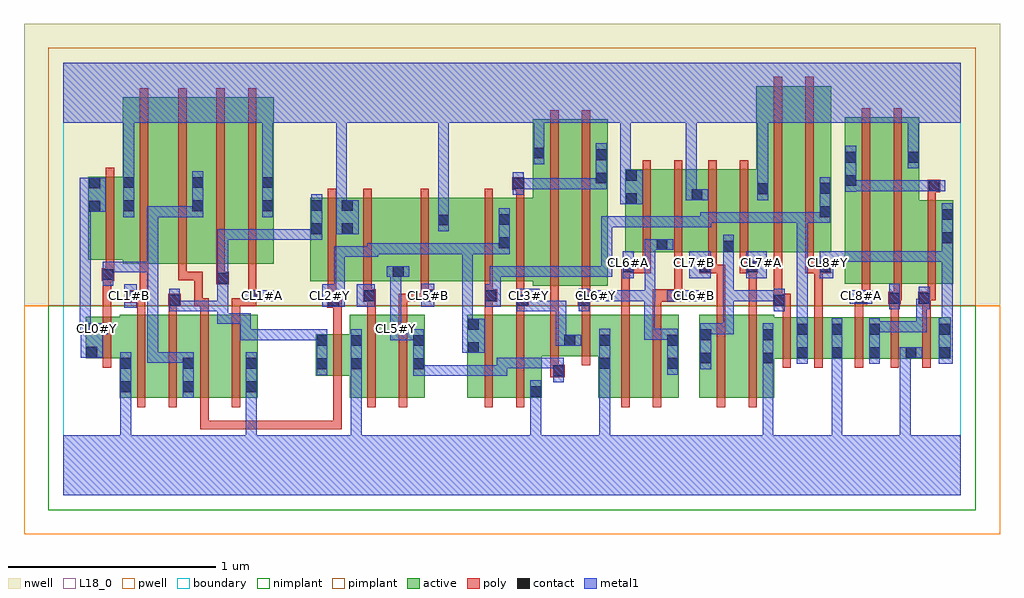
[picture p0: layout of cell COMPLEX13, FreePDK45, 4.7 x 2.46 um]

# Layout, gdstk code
import gdstk
lib = gdstk.Library(unit=1e-6, precision=1e-09)
def R(c, l, rs):  # rectangles x0, y0, x1, y1
    for r in rs: c.add(gdstk.rectangle(r[:2], r[2:], *l))
def A(c, l, x, y, w, h, nx, ny, dx, dy):  # array of equal rectangles
    R(c, l, [(x+i*dx, y+j*dy, x+i*dx+w, y+j*dy+h) for i in range(nx) for j in range(ny)])
active = (1, 0)
pwell = (2, 0)
nwell = (3, 0)
nimplant = (4, 0)
pimplant = (5, 0)
poly = (9, 0)
contact = (10, 0)
metal1 = (11, 0)
L18_0 = (18, 0)
boundary = (235, 0)

complex13 = lib.new_cell('COMPLEX13')
R(complex13, active, [(0.272,0.468,0.452,0.868), (0.272,0.468,0.332,0.664), (0.452,0.468,0.632,0.868), (0.572,0.468,0.756,0.868), (0.572,0.468,0.632,0.664), (0.756,0.468,0.936,0.868), (0.876,0.468,0.936,0.868), (1.38,0.468,1.56,0.868), (1.56,0.468,1.74,0.868), (1.68,0.468,1.74,0.868), (1.944,0.468,2.124,0.868), (1.944,0.468,2.004,0.868), (2.124,0.468,2.304,0.868), (2.244,0.468,2.304,0.668), (2.576,0.468,2.782,0.868), (2.576,0.468,2.636,0.776), (2.782,0.468,2.962,0.868), (2.902,0.468,2.962,0.868), (3.062,0.468,3.242,0.868), (3.062,0.468,3.122,0.868), (3.242,0.468,3.422,0.868), (3.362,0.468,3.422,0.856), (1.216,0.574,1.276,0.774), (1.216,0.574,1.44,0.774), (1.38,0.596,1.44,0.774), (3.362,0.656,3.586,0.856), (3.526,0.656,3.586,0.828), (3.526,0.656,3.754,0.856), (3.694,0.656,3.754,0.828), (3.694,0.656,3.934,0.856), (3.874,0.656,4.11,0.856), (3.874,0.656,3.934,0.828), (4.05,0.656,4.11,0.856), (4.05,0.656,4.27,0.856), (4.21,0.656,4.27,0.856), (0.108,0.658,0.168,0.858), (0.108,0.658,0.332,0.858), (2.244,0.668,2.468,0.868), (2.408,0.668,2.468,0.868), (2.408,0.668,2.636,0.868), (2.26,1.008,2.44,1.808), (2.44,1.008,2.62,1.808), (2.56,1.008,2.62,1.724), (3.76,1.018,3.94,1.818), (3.76,1.018,3.844,1.724), (3.94,1.018,4.12,1.818), (4.06,1.018,4.284,1.418), (4.224,1.018,4.284,1.418), (1.19,1.03,1.25,1.43), (1.19,1.03,1.398,1.43), (1.338,1.03,1.642,1.43), (1.582,1.03,1.642,1.43), (1.582,1.03,1.86,1.43), (1.8,1.03,1.86,1.43), (1.8,1.03,2.152,1.43), (2.092,1.03,2.152,1.43), (2.092,1.03,2.32,1.43), (0.286,1.114,0.498,1.914), (0.498,1.114,0.678,1.914), (0.618,1.114,0.834,1.914), (0.618,1.114,0.678,1.724), (0.834,1.114,1.014,1.914), (0.954,1.114,1.014,1.914), (0.122,1.132,0.182,1.532), (0.122,1.132,0.346,1.532), (2.704,1.168,2.764,1.568), (2.704,1.168,2.912,1.568), (2.852,1.168,3.08,1.568), (3.02,1.168,3.232,1.568), (3.172,1.168,3.396,1.568), (3.172,1.168,3.232,1.356), (3.336,1.168,3.516,1.968), (3.516,1.168,3.696,1.968), (3.636,1.168,3.696,1.724), (2.852,1.176,2.912,1.356), (0.286,1.178,0.346,1.534), (4.06,1.192,4.12,1.656), (1.338,1.196,1.398,1.43), (2.26,1.224,2.32,1.676), (3.02,1.284,3.08,1.476), (3.336,1.284,3.396,1.504)])
R(complex13, pwell, [(-0.188,-0.188,4.508,0.912)])
R(complex13, nwell, [(-0.188,0.912,4.508,2.268)])
R(complex13, nimplant, [(-0.072,-0.072,4.392,0.912)])
R(complex13, pimplant, [(-0.072,0.912,4.392,2.152)])
A(complex13, poly, 0.356, 0.424, 0.04, 0.488, 4, 1, 0.152, 0)
A(complex13, poly, 0.508, 0.872, 0.04, 0.076, 3, 1, 0.152, 0)
A(complex13, poly, 0.37, 1.07, 0.04, 0.888, 3, 1, 0.184, 0)
R(complex13, poly, [(0.66,0.318,0.7,0.358), (0.66,0.318,0.806,0.358), (0.66,0.318,0.7,0.464), (0.766,0.318,0.806,0.358), (0.766,0.318,0.806,0.358), (0.766,0.318,0.806,0.358), (0.766,0.318,1.206,0.358), (1.166,0.318,1.206,0.358), (1.166,0.318,1.206,0.358), (1.166,0.318,1.206,0.358), (1.166,0.318,1.34,0.358), (1.3,0.318,1.34,0.358), (1.3,0.318,1.34,0.358), (1.3,0.318,1.34,0.358), (1.3,0.318,1.34,0.358), (1.3,0.318,1.34,0.358), (1.3,0.318,1.34,0.57), (1.464,0.424,1.504,0.912), (1.616,0.424,1.656,0.912), (2.028,0.424,2.068,0.912), (2.18,0.424,2.22,0.912), (2.686,0.424,2.726,0.912), (2.838,0.424,2.878,0.912), (3.146,0.424,3.186,0.912), (3.298,0.424,3.338,0.912), (1.3,0.53,1.34,0.818), (2.344,0.568,2.414,0.628), (2.344,0.588,2.384,0.664), (3.462,0.612,3.502,0.9), (3.614,0.612,3.654,0.9), (3.81,0.612,3.85,0.9), (3.982,0.612,4.022,0.9), (4.134,0.612,4.174,0.9), (0.192,0.614,0.232,0.902), (2.344,0.624,2.384,0.912), (2.496,0.624,2.536,0.912), (1.3,0.778,1.34,0.942), (3.462,0.86,3.502,0.948), (3.614,0.86,3.654,1.108), (3.81,0.86,3.85,0.958), (3.982,0.86,4.022,0.958), (4.134,0.86,4.174,0.958), (0.192,0.862,0.232,1.072), (0.356,0.872,0.396,0.966), (1.464,0.872,1.504,0.97), (1.616,0.872,1.656,0.97), (2.028,0.872,2.068,0.97), (2.18,0.872,2.22,0.948), (2.344,0.872,2.384,0.948), (2.496,0.872,2.536,0.948), (2.686,0.872,2.726,1.108), (2.838,0.872,2.878,0.97), (3.146,0.872,3.186,1.108), (3.298,0.872,3.338,1.108), (1.272,0.902,1.332,0.962), (1.292,0.902,1.332,0.942), (1.292,0.902,1.34,0.942), (0.506,0.908,0.566,0.968), (0.632,0.908,0.672,0.948), (0.632,0.908,0.7,0.948), (0.632,0.908,0.672,1.074), (0.66,0.908,0.7,0.948), (0.812,0.908,0.93,0.948), (0.89,0.908,0.93,0.97), (2.18,0.908,2.24,0.968), (2.344,0.908,2.384,0.948), (2.344,0.908,2.384,0.948), (2.344,0.908,2.384,0.948), (2.344,0.908,2.384,1.004), (2.476,0.908,2.536,0.968), (3.416,0.908,3.502,0.968), (3.81,0.918,3.87,0.978), (3.97,0.918,4.03,0.978), (4.114,0.918,4.174,0.978), (1.274,0.922,1.314,1.026), (0.298,0.926,0.396,0.986), (2.18,0.928,2.22,0.968), (2.18,0.928,2.22,0.968), (2.18,0.928,2.22,1.026), (2.496,0.928,2.536,1.004), (2.496,0.928,2.536,0.968), (2.496,0.928,2.536,0.968), (3.42,0.928,3.46,0.968), (3.42,0.928,3.46,0.968), (3.42,0.928,3.46,1.164), (0.89,0.93,0.95,0.99), (1.444,0.93,1.504,0.99), (1.464,0.93,1.504,0.97), (1.464,0.93,1.504,0.97), (1.616,0.93,1.76,0.97), (1.72,0.93,1.78,0.99), (1.72,0.93,1.76,0.97), (2.028,0.93,2.088,0.99), (2.028,0.93,2.068,0.97), (2.028,0.93,2.068,0.97), (2.838,0.93,2.992,0.99), (3.83,0.938,3.87,0.978), (3.83,0.938,3.884,0.978), (3.844,0.938,3.884,1.014), (3.99,0.938,4.03,0.978), (3.99,0.938,4.036,0.978), (3.996,0.938,4.036,1.014), (4.134,0.938,4.174,0.978), (4.134,0.938,4.2,0.978), (4.16,0.938,4.2,1.014), (0.356,0.946,0.396,0.986), (0.356,0.946,0.41,0.986), (0.37,0.946,0.41,1.11), (0.89,0.95,0.93,1.11), (1.444,0.95,1.484,1.026), (1.72,0.95,1.76,1.026), (2.028,0.95,2.068,1.026), (2.94,0.95,2.98,0.99), (2.94,0.95,2.98,0.99), (2.94,0.95,2.98,1.164), (2.344,0.964,2.384,1.852), (2.496,0.964,2.536,1.852), (3.844,0.974,3.884,1.862), (3.996,0.974,4.036,1.862), (4.16,0.974,4.2,1.462), (1.274,0.986,1.314,1.474), (1.444,0.986,1.484,1.474), (1.72,0.986,1.76,1.474), (2.028,0.986,2.068,1.474), (2.18,0.986,2.22,1.474), (0.738,1.014,0.798,1.074), (0.186,1.032,0.246,1.092), (0.192,1.032,0.232,1.072), (0.192,1.032,0.232,1.072), (0.554,1.034,0.594,1.11), (0.554,1.034,0.594,1.074), (0.554,1.034,0.672,1.074), (0.632,1.034,0.672,1.074), (0.738,1.034,0.778,1.11), (0.206,1.052,0.246,1.128), (2.686,1.068,2.73,1.108), (2.69,1.068,2.73,1.108), (2.69,1.068,2.828,1.128), (3.06,1.068,3.144,1.128), (3.104,1.068,3.144,1.108), (3.104,1.068,3.186,1.108), (3.256,1.068,3.342,1.128), (3.298,1.068,3.338,1.108), (3.298,1.068,3.338,1.108), (3.572,1.068,3.696,1.128), (3.614,1.068,3.654,1.108), (3.614,1.068,3.654,1.108), (0.89,1.07,0.93,1.958), (0.206,1.088,0.246,1.576), (2.788,1.088,2.828,1.164), (3.104,1.088,3.144,1.164), (3.256,1.088,3.296,1.164), (3.572,1.088,3.612,1.164), (2.788,1.124,2.828,1.612), (2.94,1.124,2.98,1.612), (3.104,1.124,3.144,1.612), (3.256,1.124,3.296,1.612), (3.42,1.124,3.46,2.012), (3.572,1.124,3.612,2.012), (4.16,1.422,4.2,1.498), (2.18,1.434,2.22,1.51), (4.16,1.458,4.22,1.518), (2.16,1.47,2.22,1.53)])
R(complex13, contact, [(2.248,0.472,2.3,0.524), (0.276,0.496,0.328,0.548), (0.576,0.496,0.628,0.548), (0.88,0.496,0.932,0.548), (2.358,0.572,2.41,0.624), (1.22,0.606,1.272,0.658), (1.384,0.606,1.436,0.658), (1.684,0.606,1.736,0.658), (0.276,0.608,0.328,0.66), (0.576,0.608,0.628,0.66), (0.88,0.608,0.932,0.66), (2.58,0.608,2.632,0.66), (2.906,0.608,2.958,0.66), (3.066,0.634,3.118,0.686), (3.366,0.634,3.418,0.686), (3.53,0.66,3.582,0.712), (3.698,0.66,3.75,0.712), (3.878,0.66,3.93,0.712), (4.054,0.66,4.106,0.712), (4.214,0.66,4.266,0.712), (0.112,0.662,0.164,0.714), (1.948,0.684,2,0.736), (1.22,0.718,1.272,0.77), (1.384,0.718,1.436,0.77), (1.684,0.718,1.736,0.77), (2.412,0.72,2.464,0.772), (2.58,0.72,2.632,0.772), (2.906,0.72,2.958,0.772), (3.066,0.746,3.118,0.798), (3.366,0.746,3.418,0.798), (3.53,0.772,3.582,0.824), (3.698,0.772,3.75,0.824), (3.878,0.772,3.93,0.824), (4.214,0.772,4.266,0.824), (0.112,0.774,0.164,0.826), (1.948,0.796,2,0.848), (1.276,0.906,1.328,0.958), (0.51,0.912,0.562,0.964), (2.184,0.912,2.236,0.964), (2.48,0.912,2.532,0.964), (3.42,0.912,3.472,0.964), (3.814,0.922,3.866,0.974), (3.974,0.922,4.026,0.974), (4.118,0.922,4.17,0.974), (0.302,0.93,0.354,0.982), (0.894,0.934,0.946,0.986), (1.448,0.934,1.5,0.986), (1.724,0.934,1.776,0.986), (2.032,0.934,2.084,0.986), (2.936,0.934,2.988,0.986), (0.742,1.018,0.794,1.07), (0.19,1.036,0.242,1.088), (1.586,1.05,1.638,1.102), (2.694,1.072,2.746,1.124), (3.064,1.072,3.116,1.124), (3.286,1.072,3.338,1.124), (3.64,1.072,3.692,1.124), (3.176,1.172,3.228,1.224), (2.856,1.18,2.908,1.232), (2.096,1.188,2.148,1.24), (4.228,1.212,4.28,1.264), (1.194,1.256,1.246,1.308), (1.342,1.256,1.394,1.308), (1.804,1.298,1.856,1.35), (2.096,1.3,2.148,1.352), (4.228,1.324,4.28,1.376), (3.64,1.338,3.692,1.39), (0.126,1.364,0.178,1.416), (0.29,1.366,0.342,1.418), (0.622,1.366,0.674,1.418), (0.958,1.366,1.01,1.418), (1.194,1.368,1.246,1.42), (1.342,1.368,1.394,1.42), (2.708,1.4,2.76,1.452), (3.024,1.42,3.076,1.472), (3.34,1.448,3.392,1.5), (3.64,1.45,3.692,1.502), (4.164,1.462,4.216,1.514), (2.164,1.474,2.216,1.526), (0.126,1.476,0.178,1.528), (0.29,1.478,0.342,1.53), (0.622,1.478,0.674,1.53), (0.958,1.478,1.01,1.53), (3.764,1.488,3.816,1.54), (2.564,1.5,2.616,1.552), (2.708,1.512,2.76,1.564), (3.764,1.6,3.816,1.652), (4.064,1.6,4.116,1.652), (2.564,1.612,2.616,1.664), (2.264,1.62,2.316,1.672)])
R(complex13, metal1, [(0,0,4.32,0.288), (0.276,0.236,0.328,0.52), (0.88,0.236,0.932,0.288), (0.88,0.236,0.932,0.288), (0.88,0.236,0.932,0.52), (1.384,0.236,1.436,0.288), (1.384,0.236,1.436,0.288), (1.384,0.236,1.436,0.63), (2.248,0.236,2.3,0.288), (2.248,0.236,2.3,0.288), (2.248,0.236,2.3,0.496), (2.58,0.236,2.632,0.288), (2.58,0.236,2.632,0.288), (2.58,0.236,2.632,0.632), (3.366,0.236,3.418,0.288), (3.366,0.236,3.418,0.288), (3.366,0.236,3.418,0.658), (3.698,0.236,3.75,0.288), (3.698,0.236,3.75,0.288), (3.698,0.236,3.75,0.288), (3.698,0.236,3.75,0.288), (3.698,0.236,3.75,0.684), (4.026,0.236,4.078,0.288), (4.026,0.236,4.078,0.288), (4.026,0.236,4.078,0.288), (4.026,0.236,4.078,0.288), (4.026,0.236,4.078,0.712), (2.248,0.444,2.3,0.552), (0.276,0.468,0.328,0.688), (0.276,0.468,0.328,0.52), (0.276,0.468,0.328,0.52), (0.576,0.468,0.628,0.688), (0.88,0.468,0.932,0.688), (2.358,0.544,2.41,0.662), (1.684,0.574,1.736,0.626), (1.684,0.574,1.776,0.626), (1.684,0.574,1.736,0.63), (1.724,0.574,1.776,0.626), (1.724,0.574,1.896,0.626), (1.844,0.574,1.896,0.626), (1.844,0.574,2.138,0.626), (2.086,0.574,2.138,0.662), (1.22,0.578,1.272,0.798), (1.384,0.578,1.436,0.798), (1.684,0.578,1.736,0.798), (2.58,0.58,2.632,0.8), (2.906,0.58,2.958,0.8), (3.066,0.606,3.118,0.826), (3.366,0.606,3.418,0.826), (2.086,0.61,2.248,0.662), (2.196,0.61,2.248,0.662), (2.196,0.61,2.248,0.662), (2.196,0.61,2.248,0.662), (2.196,0.61,2.248,0.662), (2.196,0.61,2.248,0.662), (2.196,0.61,2.41,0.662), (3.53,0.632,3.582,0.852), (3.698,0.632,3.75,0.852), (3.698,0.632,3.75,0.684), (3.698,0.632,3.75,0.684), (3.878,0.632,3.93,0.852), (4.214,0.632,4.28,0.852), (0.406,0.636,0.458,0.688), (0.406,0.636,0.458,0.688), (0.406,0.636,0.458,0.688), (0.406,0.636,0.628,0.688), (0.406,0.636,0.458,1.124), (0.576,0.636,0.628,0.688), (0.576,0.636,0.628,0.688), (4.026,0.66,4.078,0.712), (4.026,0.66,4.078,0.712), (4.026,0.66,4.134,0.712), (0.084,0.662,0.192,0.826), (1.92,0.684,2.028,0.848), (2.37,0.72,2.422,0.936), (2.37,0.72,2.492,0.772), (0.852,0.746,0.904,0.798), (0.852,0.746,0.904,0.876), (0.852,0.746,1.272,0.798), (1.574,0.746,1.626,0.798), (1.574,0.746,1.626,0.798), (1.574,0.746,1.626,0.854), (1.574,0.746,1.736,0.798), (1.684,0.746,1.736,0.798), (1.684,0.746,1.736,0.798), (2.796,0.748,2.848,0.8), (2.796,0.748,2.938,0.8), (2.796,0.748,2.848,0.986), (2.886,0.748,2.938,0.8), (2.886,0.748,2.958,0.8), (0.08,0.774,0.132,0.826), (0.08,0.774,0.132,0.826), (0.08,0.774,0.132,1.416), (0.08,0.774,0.214,0.826), (0.084,0.774,0.136,0.826), (3.066,0.774,3.118,0.826), (3.066,0.774,3.118,0.826), (3.066,0.774,3.228,0.826), (3.176,0.774,3.228,0.826), (3.176,0.774,3.228,0.986), (3.878,0.784,3.93,0.836), (3.878,0.784,3.93,0.836), (3.878,0.784,4.156,0.836), (4.104,0.784,4.156,0.836), (4.104,0.784,4.156,0.946), (1.92,0.796,1.972,1.212), (3.53,0.8,3.582,0.852), (3.53,0.8,3.582,0.852), (3.53,0.8,3.582,0.852), (3.53,0.8,3.582,0.852), (3.53,0.8,3.582,1.362), (4.228,0.8,4.28,1.174), (1.574,0.802,1.626,0.854), (1.574,0.802,1.626,0.854), (1.574,0.802,1.626,1.102), (0.742,0.824,0.904,0.876), (0.742,0.824,0.794,0.936), (0.852,0.824,0.904,0.876), (0.852,0.824,0.904,0.876), (0.852,0.824,0.904,0.876), (0.51,0.884,0.562,0.992), (0.51,0.884,0.674,0.936), (0.622,0.884,0.674,0.936), (0.622,0.884,0.794,0.936), (0.742,0.884,0.794,0.936), (0.742,0.884,0.794,0.936), (0.742,0.884,0.794,1.098), (2.184,0.884,2.294,0.992), (2.242,0.884,2.294,0.936), (2.242,0.884,2.294,0.936), (2.242,0.884,2.422,0.936), (2.37,0.884,2.422,0.936), (2.37,0.884,2.422,0.936), (2.37,0.884,2.422,0.936), (2.48,0.884,2.532,0.992), (3.42,0.884,3.472,0.992), (3.974,0.894,4.026,1.018), (4.104,0.894,4.156,0.946), (4.104,0.894,4.17,0.946), (4.118,0.894,4.17,1.002), (0.294,0.902,0.354,1.014), (1.248,0.906,1.356,1.014), (1.414,0.906,1.5,1.014), (1.724,0.906,1.786,1.016), (2.032,0.906,2.106,1.014), (3.786,0.922,3.894,0.986), (0.866,0.934,1.014,0.986), (2.48,0.934,2.558,0.986), (2.506,0.934,2.614,0.986), (2.562,0.934,2.718,0.986), (2.666,0.934,2.718,0.986), (2.666,0.934,2.726,0.986), (2.674,0.934,2.726,0.986), (2.674,0.934,2.848,0.986), (2.796,0.934,2.85,0.986), (2.798,0.934,2.85,1.232), (2.908,0.934,3.094,0.986), (3.176,0.934,3.228,0.986), (3.176,0.934,3.228,0.986), (3.176,0.934,3.228,0.986), (3.176,0.934,3.472,0.986), (3.176,0.934,3.228,1.196), (3.42,0.934,3.472,0.986), (3.42,0.934,3.472,0.986), (1.304,0.962,1.356,1.014), (1.304,0.962,1.356,1.014), (1.304,0.962,1.356,1.198), (2.054,0.962,2.106,1.014), (2.054,0.962,2.106,1.102), (0.742,0.99,0.794,1.098), (0.19,1.008,0.242,1.116), (2.694,1.044,2.746,1.174), (3.014,1.044,3.116,1.174), (3.286,1.044,3.386,1.174), (3.64,1.044,3.706,1.174), (0.742,1.046,0.794,1.098), (0.742,1.046,0.794,1.098), (0.742,1.046,0.794,1.28), (1.558,1.05,1.666,1.102), (2.054,1.05,2.248,1.102), (2.196,1.05,2.248,1.102), (2.196,1.05,2.248,1.102), (2.196,1.05,2.248,1.102), (2.196,1.05,2.422,1.102), (2.37,1.05,2.422,1.102), (2.37,1.05,2.422,1.102), (2.37,1.05,2.422,1.102), (2.37,1.05,2.532,1.102), (2.48,1.05,2.532,1.102), (2.48,1.05,2.532,1.102), (2.48,1.05,2.532,1.102), (2.48,1.05,2.642,1.102), (2.59,1.05,2.642,1.102), (2.59,1.05,2.642,1.342), (0.19,1.064,0.242,1.116), (0.19,1.064,0.242,1.124), (0.19,1.072,0.452,1.124), (0.4,1.072,0.452,1.124), (0.4,1.072,0.458,1.124), (0.406,1.072,0.458,1.124), (0.406,1.072,0.458,1.39), (3.654,1.122,3.706,1.174), (3.654,1.122,3.706,1.174), (3.654,1.122,3.816,1.174), (3.764,1.122,3.816,1.174), (3.764,1.122,3.816,1.174), (3.764,1.122,3.816,1.174), (3.764,1.122,3.95,1.174), (3.898,1.122,3.95,1.174), (3.898,1.122,3.95,1.174), (3.898,1.122,3.95,1.174), (3.898,1.122,4.06,1.174), (4.008,1.122,4.06,1.174), (4.008,1.122,4.28,1.174), (4.228,1.122,4.28,1.236), (4.228,1.122,4.28,1.174), (4.228,1.122,4.28,1.174), (4.228,1.122,4.28,1.174), (4.228,1.122,4.28,1.174), (4.228,1.122,4.28,1.174), (3.176,1.144,3.228,1.196), (3.176,1.144,3.228,1.196), (3.176,1.144,3.228,1.252), (1.304,1.146,1.356,1.198), (1.304,1.146,1.356,1.198), (1.304,1.146,1.356,1.198), (1.304,1.146,1.516,1.198), (1.464,1.146,1.516,1.212), (1.464,1.16,1.626,1.212), (1.574,1.16,1.626,1.212), (1.574,1.16,1.626,1.212), (1.574,1.16,1.626,1.212), (1.574,1.16,1.786,1.212), (1.734,1.16,1.786,1.212), (1.734,1.16,1.786,1.212), (1.734,1.16,1.786,1.212), (1.734,1.16,1.972,1.212), (1.92,1.16,1.972,1.212), (1.92,1.16,1.972,1.212), (1.92,1.16,1.972,1.212), (1.92,1.16,1.972,1.212), (1.92,1.16,1.972,1.212), (1.92,1.16,1.972,1.212), (1.92,1.16,1.972,1.212), (1.92,1.16,2.148,1.212), (2.096,1.16,2.148,1.38), (2.798,1.18,2.88,1.232), (2.828,1.18,2.88,1.232), (2.828,1.18,2.936,1.232), (4.228,1.184,4.28,1.404), (0.742,1.228,0.794,1.28), (0.742,1.228,0.904,1.28), (0.852,1.228,0.904,1.28), (0.852,1.228,0.904,1.28), (0.852,1.228,0.904,1.28), (0.852,1.228,1.246,1.28), (1.194,1.228,1.246,1.448), (1.314,1.256,1.422,1.42), (1.804,1.27,1.856,1.378), (2.59,1.29,2.642,1.342), (2.59,1.29,2.642,1.342), (2.59,1.29,2.642,1.342), (2.59,1.29,2.828,1.342), (2.776,1.29,2.828,1.342), (2.776,1.29,2.828,1.342), (2.776,1.29,2.828,1.342), (2.776,1.29,2.938,1.342), (2.886,1.29,2.938,1.342), (2.886,1.29,2.958,1.342), (2.906,1.29,2.958,1.342), (2.906,1.29,3.118,1.342), (3.066,1.29,3.118,1.342), (3.066,1.29,3.118,1.342), (3.066,1.29,3.118,1.362), (3.066,1.31,3.252,1.362), (3.2,1.31,3.252,1.362), (3.2,1.31,3.362,1.362), (3.31,1.31,3.362,1.362), (3.31,1.31,3.362,1.362), (3.31,1.31,3.362,1.362), (3.31,1.31,3.362,1.362), (3.31,1.31,3.362,1.362), (3.31,1.31,3.582,1.362), (3.53,1.31,3.582,1.362), (3.53,1.31,3.582,1.362), (3.53,1.31,3.582,1.362), (3.53,1.31,3.692,1.362), (3.64,1.31,3.692,1.53), (3.64,1.31,3.692,1.362), (3.64,1.31,3.692,1.362), (1.804,1.326,1.856,1.844), (0.29,1.338,0.342,1.558), (0.406,1.338,0.458,1.39), (0.406,1.338,0.674,1.39), (0.622,1.338,0.674,1.558), (0.622,1.338,0.674,1.39), (0.622,1.338,0.674,1.39), (0.958,1.338,1.01,1.558), (0.08,1.364,0.206,1.528), (1.314,1.368,1.366,1.844), (2.68,1.4,2.788,1.564), (2.996,1.42,3.048,1.472), (2.996,1.42,3.048,1.472), (2.996,1.42,3.048,1.472), (2.996,1.42,3.048,1.472), (2.996,1.42,3.048,1.472), (2.996,1.42,3.048,1.472), (2.996,1.42,3.104,1.472), (2.996,1.42,3.048,1.844), (3.34,1.42,3.392,1.528), (2.164,1.446,2.216,1.554), (3.764,1.46,3.816,1.68), (3.764,1.462,3.816,1.514), (3.764,1.462,3.816,1.514), (3.764,1.462,3.95,1.514), (3.898,1.462,3.95,1.514), (3.898,1.462,4.06,1.514), (4.008,1.462,4.06,1.514), (4.008,1.462,4.06,1.514), (4.008,1.462,4.06,1.514), (4.008,1.462,4.188,1.514), (4.136,1.462,4.244,1.514), (2.164,1.472,2.312,1.524), (2.26,1.472,2.312,1.524), (2.26,1.472,2.422,1.524), (2.37,1.472,2.422,1.524), (2.37,1.472,2.422,1.524), (2.37,1.472,2.422,1.524), (2.37,1.472,2.532,1.524), (2.48,1.472,2.532,1.524), (2.48,1.472,2.616,1.524), (2.564,1.472,2.616,1.692), (3.34,1.476,3.392,1.844), (0.29,1.506,0.342,1.844), (0.958,1.506,1.01,1.844), (2.68,1.512,2.732,1.844), (4.064,1.572,4.116,1.68), (2.264,1.592,2.316,1.7), (4.064,1.628,4.116,1.844), (2.264,1.648,2.316,1.844), (0,1.792,4.32,2.08), (1.314,1.792,1.366,1.844), (1.314,1.792,1.366,1.844), (1.314,1.792,1.366,1.844), (1.314,1.792,1.366,1.844), (1.314,1.792,1.366,1.844), (1.314,1.792,1.366,1.844), (1.314,1.792,1.366,1.844), (1.314,1.792,1.366,1.844), (1.804,1.792,1.856,1.844), (1.804,1.792,1.856,1.844), (1.804,1.792,1.856,1.844), (1.804,1.792,1.856,1.844), (1.804,1.792,1.856,1.844), (1.804,1.792,1.856,1.844), (1.804,1.792,1.856,1.844), (1.804,1.792,1.856,1.844), (2.68,1.792,2.732,1.844), (2.68,1.792,2.732,1.844), (2.68,1.792,2.732,1.844), (2.68,1.792,2.732,1.844), (2.68,1.792,2.732,1.844), (2.68,1.792,2.732,1.844), (2.68,1.792,2.732,1.844), (2.68,1.792,2.732,1.844), (2.996,1.792,3.048,1.844), (2.996,1.792,3.048,1.844)])
A(complex13, L18_0, 1.574, 0.746, 0.052, 0.052, 1, 3, 0, 0.028)
A(complex13, L18_0, 1.414, 0.934, 0.052, 0.052, 3, 1, 0.32, 0)
A(complex13, L18_0, 2.694, 1.094, 0.052, 0.052, 4, 1, 0.32, 0)
R(complex13, L18_0, [(0,0,4.32,0.288), (0.276,0.236,0.328,0.52), (0.88,0.236,0.932,0.288), (0.88,0.236,0.932,0.288), (0.88,0.236,0.932,0.52), (1.384,0.236,1.436,0.288), (1.384,0.236,1.436,0.288), (1.384,0.236,1.436,0.63), (2.248,0.236,2.3,0.288), (2.248,0.236,2.3,0.288), (2.248,0.236,2.3,0.496), (2.58,0.236,2.632,0.288), (2.58,0.236,2.632,0.288), (2.58,0.236,2.632,0.632), (3.366,0.236,3.418,0.288), (3.366,0.236,3.418,0.288), (3.366,0.236,3.418,0.658), (3.698,0.236,3.75,0.288), (3.698,0.236,3.75,0.288), (3.698,0.236,3.75,0.288), (3.698,0.236,3.75,0.288), (3.698,0.236,3.75,0.684), (4.026,0.236,4.078,0.288), (4.026,0.236,4.078,0.288), (4.026,0.236,4.078,0.288), (4.026,0.236,4.078,0.288), (4.026,0.236,4.078,0.712), (2.248,0.444,2.3,0.552), (0.276,0.468,0.328,0.52), (0.276,0.468,0.328,0.52), (0.276,0.468,0.328,0.688), (0.88,0.468,0.932,0.688), (2.358,0.544,2.41,0.662), (1.684,0.574,1.736,0.626), (1.684,0.574,1.736,0.63), (1.684,0.574,1.776,0.626), (1.724,0.574,1.776,0.626), (1.724,0.574,1.896,0.626), (1.844,0.574,1.896,0.626), (1.844,0.574,2.138,0.626), (2.086,0.574,2.138,0.662), (1.384,0.578,1.436,0.798), (1.684,0.578,1.736,0.798), (2.58,0.58,2.632,0.8), (2.906,0.58,2.958,0.8), (3.366,0.606,3.418,0.826), (2.086,0.61,2.248,0.662), (2.196,0.61,2.248,0.662), (2.196,0.61,2.248,0.662), (2.196,0.61,2.248,0.662), (2.196,0.61,2.248,0.662), (2.196,0.61,2.248,0.662), (2.196,0.61,2.41,0.662), (3.53,0.632,3.582,0.852), (3.698,0.632,3.75,0.684), (3.698,0.632,3.75,0.684), (3.698,0.632,3.75,0.852), (4.214,0.632,4.28,0.852), (4.026,0.66,4.078,0.712), (4.026,0.66,4.078,0.712), (4.026,0.66,4.134,0.712), (0.084,0.662,0.192,0.826), (1.92,0.684,2.028,0.848), (2.37,0.72,2.492,0.772), (2.37,0.72,2.422,0.936), (1.574,0.746,1.626,0.798), (1.574,0.746,1.626,0.854), (1.574,0.746,1.736,0.798), (1.684,0.746,1.736,0.798), (1.684,0.746,1.736,0.798), (2.796,0.748,2.848,0.8), (2.796,0.748,2.848,0.986), (2.796,0.748,2.938,0.8), (2.886,0.748,2.938,0.8), (2.886,0.748,2.958,0.8), (0.08,0.774,0.214,0.826), (0.08,0.774,0.132,0.826), (0.08,0.774,0.132,0.826), (0.08,0.774,0.132,1.416), (0.084,0.774,0.136,0.826), (0.134,0.774,0.186,0.826), (1.92,0.796,1.972,1.212), (3.53,0.8,3.582,0.852), (3.53,0.8,3.582,0.852), (3.53,0.8,3.582,0.852), (3.53,0.8,3.582,0.852), (3.53,0.8,3.582,1.362), (4.228,0.8,4.28,1.174), (1.574,0.802,1.626,0.854), (1.574,0.802,1.626,1.102), (2.184,0.884,2.294,0.992), (2.242,0.884,2.294,0.936), (2.242,0.884,2.294,0.936), (2.242,0.884,2.422,0.936), (2.37,0.884,2.422,0.936), (2.37,0.884,2.422,0.936), (2.37,0.884,2.422,0.936), (2.48,0.884,2.532,0.992), (3.974,0.894,4.026,1.018), (0.294,0.902,0.354,1.014), (1.248,0.906,1.356,1.014), (1.414,0.906,1.5,1.014), (1.724,0.906,1.786,1.016), (2.032,0.906,2.106,1.014), (3.786,0.922,3.894,0.986), (0.294,0.934,0.346,0.986), (0.866,0.934,1.014,0.986), (0.934,0.934,0.986,0.986), (1.254,0.934,1.306,0.986), (2.214,0.934,2.266,0.986), (2.48,0.934,2.558,0.986), (2.506,0.934,2.614,0.986), (2.534,0.934,2.586,0.986), (2.562,0.934,2.718,0.986), (2.666,0.934,2.718,0.986), (2.666,0.934,2.726,0.986), (2.674,0.934,2.726,0.986), (2.674,0.934,2.848,0.986), (2.796,0.934,2.85,0.986), (2.798,0.934,2.85,1.232), (2.908,0.934,3.094,0.986), (3.014,0.934,3.066,0.986), (3.814,0.934,3.866,0.986), (3.974,0.934,4.026,0.986), (1.304,0.962,1.356,1.014), (1.304,0.962,1.356,1.014), (1.304,0.962,1.356,1.198), (2.054,0.962,2.106,1.014), (2.054,0.962,2.106,1.102), (2.694,1.044,2.746,1.174), (3.014,1.044,3.116,1.174), (3.286,1.044,3.386,1.174), (3.64,1.044,3.706,1.174), (1.558,1.05,1.666,1.102), (2.054,1.05,2.248,1.102), (2.196,1.05,2.248,1.102), (2.196,1.05,2.248,1.102), (2.196,1.05,2.248,1.102), (2.196,1.05,2.422,1.102), (2.37,1.05,2.422,1.102), (2.37,1.05,2.422,1.102), (2.37,1.05,2.422,1.102), (2.37,1.05,2.532,1.102), (2.48,1.05,2.532,1.102), (2.48,1.05,2.532,1.102), (2.48,1.05,2.532,1.102), (2.48,1.05,2.642,1.102), (2.59,1.05,2.642,1.102), (2.59,1.05,2.642,1.342), (3.654,1.122,3.706,1.174), (3.654,1.122,3.706,1.174), (3.654,1.122,3.816,1.174), (3.764,1.122,3.816,1.174), (3.764,1.122,3.816,1.174), (3.764,1.122,3.816,1.174), (3.764,1.122,3.95,1.174), (3.898,1.122,3.95,1.174), (3.898,1.122,3.95,1.174), (3.898,1.122,3.95,1.174), (3.898,1.122,4.06,1.174), (4.008,1.122,4.06,1.174), (4.008,1.122,4.28,1.174), (4.228,1.122,4.28,1.174), (4.228,1.122,4.28,1.174), (4.228,1.122,4.28,1.174), (4.228,1.122,4.28,1.174), (4.228,1.122,4.28,1.174), (4.228,1.122,4.28,1.236), (1.304,1.146,1.356,1.198), (1.304,1.146,1.356,1.198), (1.304,1.146,1.356,1.198), (1.304,1.146,1.516,1.198), (1.464,1.146,1.516,1.212), (1.464,1.16,1.626,1.212), (1.574,1.16,1.626,1.212), (1.574,1.16,1.626,1.212), (1.574,1.16,1.626,1.212), (1.574,1.16,1.786,1.212), (1.734,1.16,1.786,1.212), (1.734,1.16,1.786,1.212), (1.734,1.16,1.786,1.212), (1.734,1.16,1.972,1.212), (1.92,1.16,1.972,1.212), (1.92,1.16,1.972,1.212), (1.92,1.16,1.972,1.212), (1.92,1.16,1.972,1.212), (1.92,1.16,1.972,1.212), (1.92,1.16,1.972,1.212), (1.92,1.16,1.972,1.212), (1.92,1.16,2.148,1.212), (2.096,1.16,2.148,1.38), (2.798,1.18,2.88,1.232), (2.828,1.18,2.88,1.232), (2.828,1.18,2.936,1.232), (4.228,1.184,4.28,1.404), (1.314,1.256,1.422,1.42), (1.804,1.27,1.856,1.378), (2.59,1.29,2.642,1.342), (2.59,1.29,2.642,1.342), (2.59,1.29,2.642,1.342), (2.59,1.29,2.828,1.342), (2.776,1.29,2.828,1.342), (2.776,1.29,2.828,1.342), (2.776,1.29,2.828,1.342), (2.776,1.29,2.938,1.342), (2.886,1.29,2.938,1.342), (2.886,1.29,2.958,1.342), (2.906,1.29,2.958,1.342), (2.906,1.29,3.118,1.342), (3.066,1.29,3.118,1.342), (3.066,1.29,3.118,1.342), (3.066,1.29,3.118,1.362), (3.066,1.31,3.252,1.362), (3.2,1.31,3.252,1.362), (3.2,1.31,3.362,1.362), (3.31,1.31,3.362,1.362), (3.31,1.31,3.362,1.362), (3.31,1.31,3.362,1.362), (3.31,1.31,3.362,1.362), (3.31,1.31,3.362,1.362), (3.31,1.31,3.582,1.362), (3.53,1.31,3.582,1.362), (3.53,1.31,3.582,1.362), (3.53,1.31,3.582,1.362), (3.53,1.31,3.692,1.362), (3.64,1.31,3.692,1.362), (3.64,1.31,3.692,1.362), (3.64,1.31,3.692,1.53), (1.804,1.326,1.856,1.844), (0.29,1.338,0.342,1.558), (0.958,1.338,1.01,1.558), (0.08,1.364,0.206,1.528), (1.314,1.368,1.366,1.844), (2.68,1.4,2.788,1.564), (2.996,1.42,3.048,1.472), (2.996,1.42,3.048,1.472), (2.996,1.42,3.048,1.472), (2.996,1.42,3.048,1.472), (2.996,1.42,3.048,1.472), (2.996,1.42,3.048,1.472), (2.996,1.42,3.104,1.472), (2.996,1.42,3.048,1.844), (3.34,1.42,3.392,1.528), (2.164,1.446,2.216,1.554), (2.164,1.472,2.312,1.524), (2.26,1.472,2.312,1.524), (2.26,1.472,2.422,1.524), (2.37,1.472,2.422,1.524), (2.37,1.472,2.422,1.524), (2.37,1.472,2.422,1.524), (2.37,1.472,2.532,1.524), (2.48,1.472,2.532,1.524), (2.48,1.472,2.616,1.524), (2.564,1.472,2.616,1.692), (3.34,1.476,3.392,1.844), (0.29,1.506,0.342,1.844), (0.958,1.506,1.01,1.844), (2.68,1.512,2.732,1.844), (4.064,1.572,4.116,1.68), (2.264,1.592,2.316,1.7), (4.064,1.628,4.116,1.844), (2.264,1.648,2.316,1.844), (0,1.792,4.32,2.08), (1.314,1.792,1.366,1.844), (1.314,1.792,1.366,1.844), (1.314,1.792,1.366,1.844), (1.314,1.792,1.366,1.844), (1.314,1.792,1.366,1.844), (1.314,1.792,1.366,1.844), (1.314,1.792,1.366,1.844), (1.314,1.792,1.366,1.844), (1.804,1.792,1.856,1.844), (1.804,1.792,1.856,1.844), (1.804,1.792,1.856,1.844), (1.804,1.792,1.856,1.844), (1.804,1.792,1.856,1.844), (1.804,1.792,1.856,1.844), (1.804,1.792,1.856,1.844), (1.804,1.792,1.856,1.844), (2.68,1.792,2.732,1.844), (2.68,1.792,2.732,1.844), (2.68,1.792,2.732,1.844), (2.68,1.792,2.732,1.844), (2.68,1.792,2.732,1.844), (2.68,1.792,2.732,1.844), (2.68,1.792,2.732,1.844), (2.68,1.792,2.732,1.844), (2.996,1.792,3.048,1.844), (2.996,1.792,3.048,1.844)])
R(complex13, boundary, [(0,0,4.32,2.08)])
complex13.add(gdstk.Label('CL0#Y', (0.16,0.8), layer=11, texttype=0))
complex13.add(gdstk.Label('CL1#A', (0.96,0.96), layer=11, texttype=0))
complex13.add(gdstk.Label('CL1#B', (0.32,0.96), layer=11, texttype=0))
complex13.add(gdstk.Label('CL2#Y', (1.28,0.96), layer=11, texttype=0))
complex13.add(gdstk.Label('CL3#Y', (2.24,0.96), layer=11, texttype=0))
complex13.add(gdstk.Label('CL4#Y', (2.08,0.96), layer=11, texttype=0))
complex13.add(gdstk.Label('CL5#A', (1.44,0.96), layer=11, texttype=0))
complex13.add(gdstk.Label('CL5#B', (1.76,0.96), layer=11, texttype=0))
complex13.add(gdstk.Label('CL5#Y', (1.6,0.8), layer=11, texttype=0))
complex13.add(gdstk.Label('CL6#A', (2.72,1.12), layer=11, texttype=0))
complex13.add(gdstk.Label('CL6#B', (3.04,0.96), layer=11, texttype=0))
complex13.add(gdstk.Label('CL6#Y', (2.56,0.96), layer=11, texttype=0))
complex13.add(gdstk.Label('CL7#A', (3.36,1.12), layer=11, texttype=0))
complex13.add(gdstk.Label('CL7#B', (3.04,1.12), layer=11, texttype=0))
complex13.add(gdstk.Label('CL8#A', (3.84,0.96), layer=11, texttype=0))
complex13.add(gdstk.Label('CL8#B', (4,0.96), layer=11, texttype=0))
complex13.add(gdstk.Label('CL8#Y', (3.68,1.12), layer=11, texttype=0))

lib.write_gds('COMPLEX13.gds')
